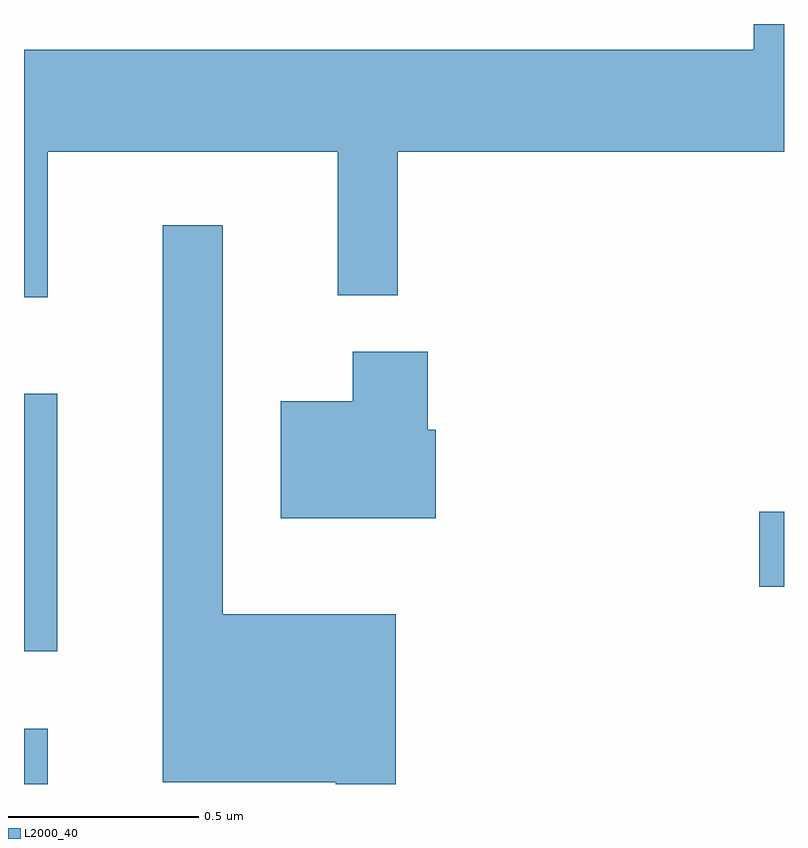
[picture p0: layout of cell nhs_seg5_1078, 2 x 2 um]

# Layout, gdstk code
import gdstk
lib = gdstk.Library(unit=1e-6, precision=1e-09)
def R(c, l, rs):  # rectangles x0, y0, x1, y1
    for r in rs: c.add(gdstk.rectangle(r[:2], r[2:], *l))
def P(c, l, *ps):  # polygons
    for p in ps: c.add(gdstk.Polygon(p, *l))
L2000_40 = (2000, 40)

nhs_seg5_1078 = lib.new_cell('nhs_seg5_1078')
R(nhs_seg5_1078, L2000_40, [(192.611,1515.072,192.674,1515.218), (192.611,1515.421,192.699,1516.099), (194.546,1515.591,194.611,1515.789)])
P(nhs_seg5_1078, L2000_40, [(192.674,1516.736),(193.436,1516.736),(193.436,1516.358),(193.594,1516.358),(193.594,1516.736),(194.611,1516.736),(194.611,1517.072),(194.531,1517.072),(194.531,1517.004),(192.611,1517.004),(192.611,1516.353),(192.674,1516.353)],
  [(193.589,1515.519),(193.134,1515.519),(193.134,1516.543),(192.976,1516.543),(192.976,1515.076),(193.431,1515.076),(193.431,1515.072),(193.589,1515.072)],
  [(193.694,1516.004),(193.674,1516.004),(193.674,1516.209),(193.476,1516.209),(193.476,1516.079),(193.286,1516.079),(193.286,1515.771),(193.694,1515.771)])

lib.write_gds('nhs_seg5_1078.gds')
